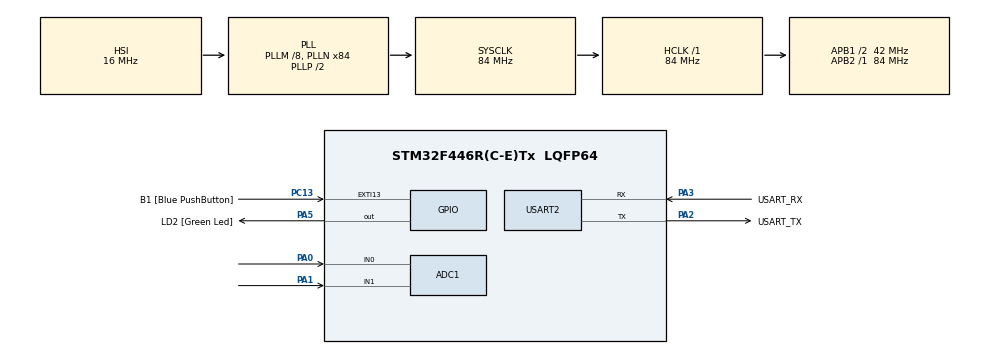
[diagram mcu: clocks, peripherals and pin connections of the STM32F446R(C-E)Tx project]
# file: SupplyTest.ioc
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Mcu.Family=STM32F4
PH0-OSC_IN.Signal=RCC_OSC_IN
RCC.CortexFreq_Value=84000000
ADC1.ContinuousConvMode=ENABLE
Dma.USART2_TX.1.MemInc=DMA_MINC_ENABLE
PA14.GPIO_Label=TCK
PC13.GPIO_Label=B1 [Blue PushButton]
RCC.SYSCLKSource=RCC_SYSCLKSOURCE_PLLCLK
ProjectManager.StackSize=0x400
Dma.USART2_RX.0.Priority=DMA_PRIORITY_LOW
Dma.USART2_RX.0.PeriphDataAlignment=DMA_PDATAALIGN_BYTE
RCC.HCLKFreq_Value=84000000
RCC.APB2TimFreq_Value=84000000
Dma.USART2_TX.1.Mode=DMA_NORMAL
NVIC.DMA2_Stream0_IRQn=true\:0\:0\:false\:false\:true\:false\:true
RCC.AHBFreq_Value=84000000
PH0-OSC_IN.Mode=HSE-External-Oscillator
ADC1.Channel-0\#ChannelRegularConversion=ADC_CHANNEL_0
RCC.HSE_VALUE=8000000
NVIC.TIM8_TRG_COM_TIM14_IRQn=true\:0\:0\:false\:false\:true\:true\:true
ADC1.ScanConvMode=ENABLE
TIM14.Period=9999
Dma.ADC1.2.MemDataAlignment=DMA_MDATAALIGN_HALFWORD
Dma.USART2_RX.0.MemDataAlignment=DMA_MDATAALIGN_BYTE
PC14-OSC32_IN.Mode=LSE-External-Oscillator
PA14.Mode=Serial_Wire
Dma.USART2_TX.1.Instance=DMA1_Stream6
Dma.USART2_RX.0.Instance=DMA1_Stream5
Dma.ADC1.2.Direction=DMA_PERIPH_TO_MEMORY
SH.ADCx_IN0.0=ADC1_IN0,IN0
ADC1.SamplingTime-0\#ChannelRegularConversion=ADC_SAMPLETIME_480CYCLES
RCC.FLatency-AdvancedSettings=FLASH_LATENCY_2
PH1-OSC_OUT.Mode=HSE-External-Oscillator
Mcu.Package=LQFP64
Dma.USART2_RX.0.PeriphInc=DMA_PINC_DISABLE
USART2.VirtualMode=VM_ASYNC
Dma.USART2_RX.0.FIFOMode=DMA_FIFOMODE_DISABLE
PA2.GPIO_Label=USART_TX
USART2.WordLength=WORDLENGTH_8B
SH.ADCx_IN1.0=ADC1_IN1,IN1
Dma.Request2=ADC1
Dma.Request1=USART2_TX
RCC.APB1TimFreq_Value=84000000
VP_TIM14_VS_ClockSourceINT.Mode=Enable_Timer
NVIC.DMA1_Stream6_IRQn=true\:0\:0\:false\:false\:true\:false\:true
Dma.Request0=USART2_RX
Dma.ADC1.2.Mode=DMA_CIRCULAR
PA3.Signal=USART2_RX
PB3.GPIO_Label=SWO
PC15-OSC32_OUT.Mode=LSE-External-Oscillator
Dma.USART2_TX.1.Priority=DMA_PRIORITY_LOW
ADC1.Rank-0\#ChannelRegularConversion=1
Dma.USART2_TX.1.FIFOMode=DMA_FIFOMODE_DISABLE
PC13.Signal=GPXTI13
Dma.ADC1.2.PeriphDataAlignment=DMA_PDATAALIGN_HALFWORD
Dma.USART2_RX.0.Direction=DMA_PERIPH_TO_MEMORY
RCC.APB1CLKDivider=RCC_HCLK_DIV2
PC14-OSC32_IN.Signal=RCC_OSC32_IN
Dma.USART2_TX.1.PeriphDataAlignment=DMA_PDATAALIGN_BYTE
NVIC.USART2_IRQn=true\:0\:0\:false\:false\:true\:true\:true
PA0-WKUP.Signal=ADCx_IN0
Dma.USART2_RX.0.Mode=DMA_NORMAL
PA3.Mode=Asynchronous
PA13.Signal=SYS_JTMS-SWDIO
Dma.ADC1.2.MemInc=DMA_MINC_ENABLE
ProjectManager.TargetToolchain=STM32CubeIDE
NVIC.DMA1_Stream5_IRQn=true\:0\:0\:false\:false\:true\:false\:true
ADC1.Channel-1\#ChannelRegularConversion=ADC_CHANNEL_1
RCC.USBFreq_Value=84000000
PC15-OSC32_OUT.Signal=RCC_OSC32_OUT
PA1.Signal=ADCx_IN1
PA5.Signal=GPIO_Output
Dma.USART2_TX.1.PeriphInc=DMA_PINC_DISABLE
board=NUCLEO-F446RE
RCC.VCOOutputFreq_Value=168000000
Dma.USART2_TX.1.Direction=DMA_MEMORY_TO_PERIPH
RCC.APB2Freq_Value=84000000
PH1-OSC_OUT.Signal=RCC_OSC_OUT
ADC1.DMAContinuousRequests=ENABLE
ADC1.NbrOfConversion=2
PA13.Mode=Serial_Wire
Mcu.Name=STM32F446R(C-E)Tx
Dma.USART2_RX.0.MemInc=DMA_MINC_ENABLE
TIM14.Prescaler=8399
PA2.Signal=USART2_TX
PA13.GPIO_Label=TMS
Dma.ADC1.2.Instance=DMA2_Stream0
RCC.48MHZClocksFreq_Value=84000000
PB3.Signal=SYS_JTDO-SWO
ADC1.SamplingTime-1\#ChannelRegularConversion=ADC_SAMPLETIME_480CYCLES
RCC.SYSCLKFreq_VALUE=84000000
Dma.ADC1.2.Priority=DMA_PRIORITY_LOW
ADC1.master=1
PA5.GPIO_Label=LD2 [Green Led]
Dma.ADC1.2.PeriphInc=DMA_PINC_DISABLE
PC13.GPIO_ModeDefaultEXTI=GPIO_MODE_IT_FALLING
ADC1.Rank-1\#ChannelRegularConversion=2
PA14.Signal=SYS_JTCK-SWCLK
ProjectManager.HeapSize=0x200
Dma.ADC1.2.FIFOMode=DMA_FIFOMODE_DISABLE
RCC.HSI_VALUE=16000000
NVIC.PriorityGroup=NVIC_PRIORITYGROUP_0
ADC1.NbrOfConversionFlag=1
RCC.PLLM=8
RCC.PLLN=84
PA2.Mode=Asynchronous
Dma.USART2_TX.1.MemDataAlignment=DMA_MDATAALIGN_BYTE
RCC.APB1Freq_Value=42000000
ADC1.ClockPrescaler=ADC_CLOCK_SYNC_PCLK_DIV8
PA3.GPIO_Label=USART_RX

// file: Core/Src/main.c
/* USER CODE BEGIN Header */
/**
  ******************************************************************************
  * @file           : main.c
  * @brief          : Main program body
  ******************************************************************************
  * @attention
  *
  * <h2><center>&copy; Copyright (c) 2021 STMicroelectronics.
  * All rights reserved.</center></h2>
  *
  * This software component is licensed by ST under BSD 3-Clause license,
  * the "License"; You may not use this file except in compliance with the
  * License. You may obtain a copy of the License at:
  *                        opensource.org/licenses/BSD-3-Clause
  *
  ******************************************************************************
  */
/* USER CODE END Header */
#include "main.h"
#include <stdlib.h>
#include <stdio.h>

ADC_HandleTypeDef hadc1;
DMA_HandleTypeDef hdma_adc1;

TIM_HandleTypeDef htim14;

UART_HandleTypeDef huart2;
DMA_HandleTypeDef hdma_usart2_rx;
DMA_HandleTypeDef hdma_usart2_tx;

void SystemClock_Config(void);
static void MX_GPIO_Init(void);
static void MX_DMA_Init(void);
static void MX_USART2_UART_Init(void);
static void MX_ADC1_Init(void);
static void MX_TIM14_Init(void);

/* USER CODE BEGIN 0 */
uint8_t Received[7];

uint8_t counterMeasurement = 0;
uint8_t amountMeasurement = 30;
uint16_t PomiarADC[2];

const float SupplyVoltage = 3.3; // [Volts]
const float ADCResolution = 4096.0;

uint8_t WhichTest(void);

enum
{
	NoneTest = 0,
	Test3V3 = 1,
	Test5V = 2,
};

/////////////
const float Resistance = 10.0;//ohm
const float PeriodMeasurement = 0.5;
///////////
/* USER CODE END 0 */

int main(void)
{

  /* MCU Configuration--------------------------------------------------------*/

  /* Reset of all peripherals, Initializes the Flash interface and the Systick. */
  HAL_Init();

  /* Configure the system clock */
  SystemClock_Config();

  /* Initialize all configured peripherals */
  MX_GPIO_Init();
  MX_DMA_Init();
  MX_USART2_UART_Init();
  MX_ADC1_Init();
  MX_TIM14_Init();
  /* USER CODE BEGIN 2 */
  HAL_UART_Receive_DMA(&huart2, Received, 3);
  HAL_ADC_Start_DMA(&hadc1, PomiarADC, 2);
  /* USER CODE END 2 */

  /* Infinite loop */
  while (1)
  {

  }
}

void SystemClock_Config(void)
{
  RCC_OscInitTypeDef RCC_OscInitStruct = {0};
  RCC_ClkInitTypeDef RCC_ClkInitStruct = {0};

  /** Configure the main internal regulator output voltage
  */
  __HAL_RCC_PWR_CLK_ENABLE();
  __HAL_PWR_VOLTAGESCALING_CONFIG(PWR_REGULATOR_VOLTAGE_SCALE3);
  /** Initializes the RCC Oscillators according to the specified parameters
  * in the RCC_OscInitTypeDef structure.
  */
  RCC_OscInitStruct.OscillatorType = RCC_OSCILLATORTYPE_HSI;
  RCC_OscInitStruct.HSIState = RCC_HSI_ON;
  RCC_OscInitStruct.HSICalibrationValue = RCC_HSICALIBRATION_DEFAULT;
  RCC_OscInitStruct.PLL.PLLState = RCC_PLL_ON;
  RCC_OscInitStruct.PLL.PLLSource = RCC_PLLSOURCE_HSI;
  RCC_OscInitStruct.PLL.PLLM = 8;
  RCC_OscInitStruct.PLL.PLLN = 84;
  RCC_OscInitStruct.PLL.PLLP = RCC_PLLP_DIV2;
  RCC_OscInitStruct.PLL.PLLQ = 2;
  RCC_OscInitStruct.PLL.PLLR = 2;
  if (HAL_RCC_OscConfig(&RCC_OscInitStruct) != HAL_OK)
  {
    Error_Handler();
  }
  /** Initializes the CPU, AHB and APB buses clocks
  */
  RCC_ClkInitStruct.ClockType = RCC_CLOCKTYPE_HCLK|RCC_CLOCKTYPE_SYSCLK
                              |RCC_CLOCKTYPE_PCLK1|RCC_CLOCKTYPE_PCLK2;
  RCC_ClkInitStruct.SYSCLKSource = RCC_SYSCLKSOURCE_PLLCLK;
  RCC_ClkInitStruct.AHBCLKDivider = RCC_SYSCLK_DIV1;
  RCC_ClkInitStruct.APB1CLKDivider = RCC_HCLK_DIV2;
  RCC_ClkInitStruct.APB2CLKDivider = RCC_HCLK_DIV1;

  if (HAL_RCC_ClockConfig(&RCC_ClkInitStruct, FLASH_LATENCY_2) != HAL_OK)
  {
    Error_Handler();
  }
}

static void MX_ADC1_Init(void)
{

  ADC_ChannelConfTypeDef sConfig = {0};

  /** Configure the global features of the ADC (Clock, Resolution, Data Alignment and number of conversion)
  */
  hadc1.Instance = ADC1;
  hadc1.Init.ClockPrescaler = ADC_CLOCK_SYNC_PCLK_DIV8;
  hadc1.Init.Resolution = ADC_RESOLUTION_12B;
  hadc1.Init.ScanConvMode = ENABLE;
  hadc1.Init.ContinuousConvMode = ENABLE;
  hadc1.Init.DiscontinuousConvMode = DISABLE;
  hadc1.Init.ExternalTrigConvEdge = ADC_EXTERNALTRIGCONVEDGE_NONE;
  hadc1.Init.ExternalTrigConv = ADC_SOFTWARE_START;
  hadc1.Init.DataAlign = ADC_DATAALIGN_RIGHT;
  hadc1.Init.NbrOfConversion = 2;
  hadc1.Init.DMAContinuousRequests = ENABLE;
  hadc1.Init.EOCSelection = ADC_EOC_SINGLE_CONV;
  if (HAL_ADC_Init(&hadc1) != HAL_OK)
  {
    Error_Handler();
  }
  /** Configure for the selected ADC regular channel its corresponding rank in the sequencer and its sample time.
  */
  sConfig.Channel = ADC_CHANNEL_0;
  sConfig.Rank = 1;
  sConfig.SamplingTime = ADC_SAMPLETIME_480CYCLES;
  if (HAL_ADC_ConfigChannel(&hadc1, &sConfig) != HAL_OK)
  {
    Error_Handler();
  }
  /** Configure for the selected ADC regular channel its corresponding rank in the sequencer and its sample time.
  */
  sConfig.Channel = ADC_CHANNEL_1;
  sConfig.Rank = 2;
  if (HAL_ADC_ConfigChannel(&hadc1, &sConfig) != HAL_OK)
  {
    Error_Handler();
  }

}

static void MX_TIM14_Init(void)
{

  htim14.Instance = TIM14;
  htim14.Init.Prescaler = 8399;
  htim14.Init.CounterMode = TIM_COUNTERMODE_UP;
  htim14.Init.Period = (PeriodMeasurement*10000) - 1;
  htim14.Init.ClockDivision = TIM_CLOCKDIVISION_DIV1;
  htim14.Init.AutoReloadPreload = TIM_AUTORELOAD_PRELOAD_DISABLE;
  if (HAL_TIM_Base_Init(&htim14) != HAL_OK)
  {
    Error_Handler();
  }

}

static void MX_USART2_UART_Init(void)
{

  huart2.Instance = USART2;
  huart2.Init.BaudRate = 115200;
  huart2.Init.WordLength = UART_WORDLENGTH_8B;
  huart2.Init.StopBits = UART_STOPBITS_1;
  huart2.Init.Parity = UART_PARITY_NONE;
  huart2.Init.Mode = UART_MODE_TX_RX;
  huart2.Init.HwFlowCtl = UART_HWCONTROL_NONE;
  huart2.Init.OverSampling = UART_OVERSAMPLING_16;
  if (HAL_UART_Init(&huart2) != HAL_OK)
  {
    Error_Handler();
  }

}

static void MX_DMA_Init(void)
{

  /* DMA controller clock enable */
  __HAL_RCC_DMA1_CLK_ENABLE();
  __HAL_RCC_DMA2_CLK_ENABLE();

  /* DMA interrupt init */
  /* DMA1_Stream5_IRQn interrupt configuration */
  HAL_NVIC_SetPriority(DMA1_Stream5_IRQn, 0, 0);
  HAL_NVIC_EnableIRQ(DMA1_Stream5_IRQn);
  /* DMA1_Stream6_IRQn interrupt configuration */
  HAL_NVIC_SetPriority(DMA1_Stream6_IRQn, 0, 0);
  HAL_NVIC_EnableIRQ(DMA1_Stream6_IRQn);
  /* DMA2_Stream0_IRQn interrupt configuration */
  HAL_NVIC_SetPriority(DMA2_Stream0_IRQn, 0, 0);
  HAL_NVIC_EnableIRQ(DMA2_Stream0_IRQn);

}

static void MX_GPIO_Init(void)
{
  GPIO_InitTypeDef GPIO_InitStruct = {0};

  /* GPIO Ports Clock Enable */
  __HAL_RCC_GPIOC_CLK_ENABLE();
  __HAL_RCC_GPIOH_CLK_ENABLE();
  __HAL_RCC_GPIOA_CLK_ENABLE();
  __HAL_RCC_GPIOB_CLK_ENABLE();

  /*Configure GPIO pin Output Level */
  HAL_GPIO_WritePin(LD2_GPIO_Port, LD2_Pin, GPIO_PIN_RESET);

  /*Configure GPIO pin : B1_Pin */
  GPIO_InitStruct.Pin = B1_Pin;
  GPIO_InitStruct.Mode = GPIO_MODE_IT_FALLING;
  GPIO_InitStruct.Pull = GPIO_NOPULL;
  HAL_GPIO_Init(B1_GPIO_Port, &GPIO_InitStruct);

  /*Configure GPIO pin : LD2_Pin */
  GPIO_InitStruct.Pin = LD2_Pin;
  GPIO_InitStruct.Mode = GPIO_MODE_OUTPUT_PP;
  GPIO_InitStruct.Pull = GPIO_NOPULL;
  GPIO_InitStruct.Speed = GPIO_SPEED_FREQ_LOW;
  HAL_GPIO_Init(LD2_GPIO_Port, &GPIO_InitStruct);

}

/* USER CODE BEGIN 4 */
void HAL_UART_RxCpltCallback(UART_HandleTypeDef *huart)
{
	UNUSED(huart);
	if(WhichTest() == Test3V3 || WhichTest() == Test5V)
	{
		HAL_TIM_Base_Start_IT(&htim14);
		HAL_GPIO_TogglePin(GPIOA, GPIO_PIN_5);
	}
	HAL_UART_Receive_DMA(&huart2, Received, 3); // Ponowne włączenie nasłuchiwania
}

void HAL_TIM_PeriodElapsedCallback(TIM_HandleTypeDef *htim)
{
	if(htim->Instance == TIM14)
	{
		float Voltage;
		float Current;
		float Time;

		counterMeasurement++;
		if (WhichTest() == Test3V3)
			Voltage = (SupplyVoltage*PomiarADC[0])/(ADCResolution-1); // Przeliczenie wartosci zmierzonej na napiecie
		else if (WhichTest() == Test5V)
			Voltage = (SupplyVoltage*PomiarADC[1])/(ADCResolution-1);
		else if (WhichTest() == NoneTest)
		{
			counterMeasurement = 0;
			HAL_TIM_Base_Stop_IT(&htim14);
		}

		Current = Voltage/Resistance;
		Time = PeriodMeasurement*counterMeasurement;

		int sizeVoltage = snprintf(0, 0, "%.2f", Voltage); // convertion float to string
		int sizeCurrent = snprintf(0, 0, "%.2f", Current);
		int sizeTime = snprintf(0, 0, "%.2f", Time);

		int size = sizeVoltage + sizeCurrent + sizeTime + 6;
		char buffer[size];

		snprintf(buffer, size,"%.2f;%.2f;%.2f", Voltage,Current,Time);

		uint8_t Transmit[size + 1];
		sprintf(Transmit, "%s\r\n", buffer);

		HAL_UART_Transmit_DMA(&huart2, Transmit , size + 1);

		if (counterMeasurement == amountMeasurement)
		{
			counterMeasurement = 0;
			HAL_TIM_Base_Stop_IT(&htim14);
		}

	}
}

uint8_t WhichTest(void)
{
	if (Received[0] == '3' && Received[1] == 'V' && Received[2] == '3')
		return Test3V3;
	else if (Received[0] == '+' && Received[1] == '5' && Received[2] == 'V')
		return Test5V;
	else
		return NoneTest;
}

/* USER CODE END 4 */

void Error_Handler(void)
{
  __disable_irq();
  while (1)
  {
  }
}

/************************ (C) COPYRIGHT STMicroelectronics *****END OF FILE****/
